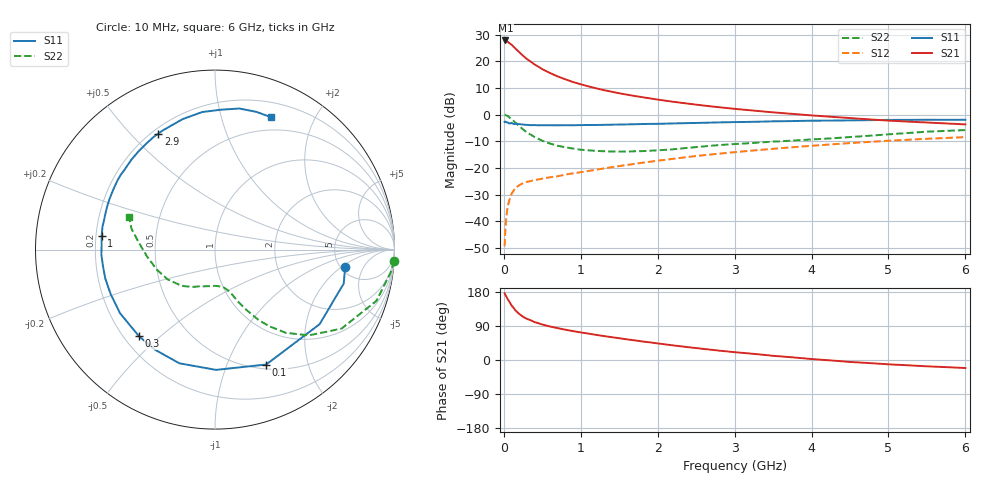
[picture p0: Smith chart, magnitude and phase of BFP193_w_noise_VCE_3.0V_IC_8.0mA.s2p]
! Infineon Technologies  Discrete & RF Semiconductors
! BFP193
! VCE =  3.0 V,  IC =  8.0 mA
! Common Emitter S-Parameters:  Jan 2017
# GHz  S  MA  R  50
!  f  S11  S21  S12  S22
! GHz  MAG  ANG  MAG  ANG  MAG  ANG  MAG  ANG
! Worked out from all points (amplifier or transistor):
!   77 points, 10 MHz to 6 GHz, reference 50 ohm
!   highest |S21| = 27.8 dB at 20 MHz (marker M1)
!   |S21| within 3 dB of that: start of sweep to 149.9 MHz
!   unconditionally stable (mu >= 1): 1.182 GHz to 2.682 GHz
!   at 130 MHz: K = 0.20, MSG = 26.9 dB, |S12| = -28.4 dB
!   at 2.2 GHz: K = 1.05, MAG = 9.4 dB, |S12| = -16.6 dB
!   at 6 GHz: K = 0.89, MSG = 2.4 dB, |S12| = -8.4 dB
!   lowest NFmin = 0.85 dB at 450 MHz
!   S11 on the Smith chart (normalised r, x): 10 MHz: 5.49, -2.26; 100 MHz: 0.55, -1.39; 300 MHz: 0.26, -0.43; 1 GHz: 0.22, +0.06; 2.9 GHz: 0.22, +0.60; 6 GHz: 0.35, +1.45
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0.01  0.7315 -7.5  24.55 176.0  0.0034 87.4  0.9994 -3.6
0.02  0.7417 -14.8  24.67 172.1  0.0071 86.0  0.9874 -7.3
0.05  0.7159 -35.5  23.42 160.4  0.0187 73.0  0.9439 -17.6
0.1  0.7008 -66.0  20.62 143.9  0.0325 61.4  0.831 -32.0
0.15  0.6702 -89.5  17.46 131.0  0.0418 51.9  0.709 -42.4
0.2  0.6639 -107.4  14.86 121.6  0.0473 46.4  0.6087 -49.6
0.25  0.6503 -120.9  12.73 114.0  0.0518 42.3  0.5277 -54.4
0.3  0.642 -131.3  11.07 108.6  0.0547 40.1  0.4647 -58.1
0.4  0.6369 -146.2  8.725 99.9  0.059 38.3  0.3784 -62.5
0.5  0.632 -157.0  7.134 93.6  0.063 38.6  0.3236 -65.7
0.6  0.6322 -165.2  6.042 88.4  0.0668 39.4  0.2866 -67.9
0.7  0.6309 -171.7  5.214 84.1  0.0697 40.8  0.2607 -69.6
0.9  0.6323 177.5  4.096 76.2  0.0791 43.1  0.2307 -73.8
1  0.6361 173.0  3.713 72.8  0.0832 44.0  0.2197 -76.0
1.1  0.6395 168.7  3.389 69.6  0.0878 45.2  0.214 -78.2
1.5  0.6518 154.3  2.519 57.5  0.1085 47.4  0.2021 -90.2
2.1  0.6774 135.7  1.83 41.2  0.1423 47.4  0.2185 -110.4
2.9  0.7195 116.0  1.33 22.7  0.1914 43.0  0.2743 -133.5
3.1  0.7277 111.8  1.246 18.9  0.2036 41.5  0.2858 -138.7
4.1  0.7708 93.7  0.946 1.1  0.2665 32.7  0.3483 -163.7
5.1  0.7974 78.8  0.76 -12.4  0.3289 21.8  0.4367 172.7
6  0.8009 67.1  0.656 -21.2  0.3787 11.4  0.5137 159.1
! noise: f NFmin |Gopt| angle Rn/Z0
0.45  0.85  0.21  129  0.09
0.9  0.97  0.36  162  0.07
1.9  1.79  0.58  -148  0.12
2.4  2.19  0.64  -129  0.31
